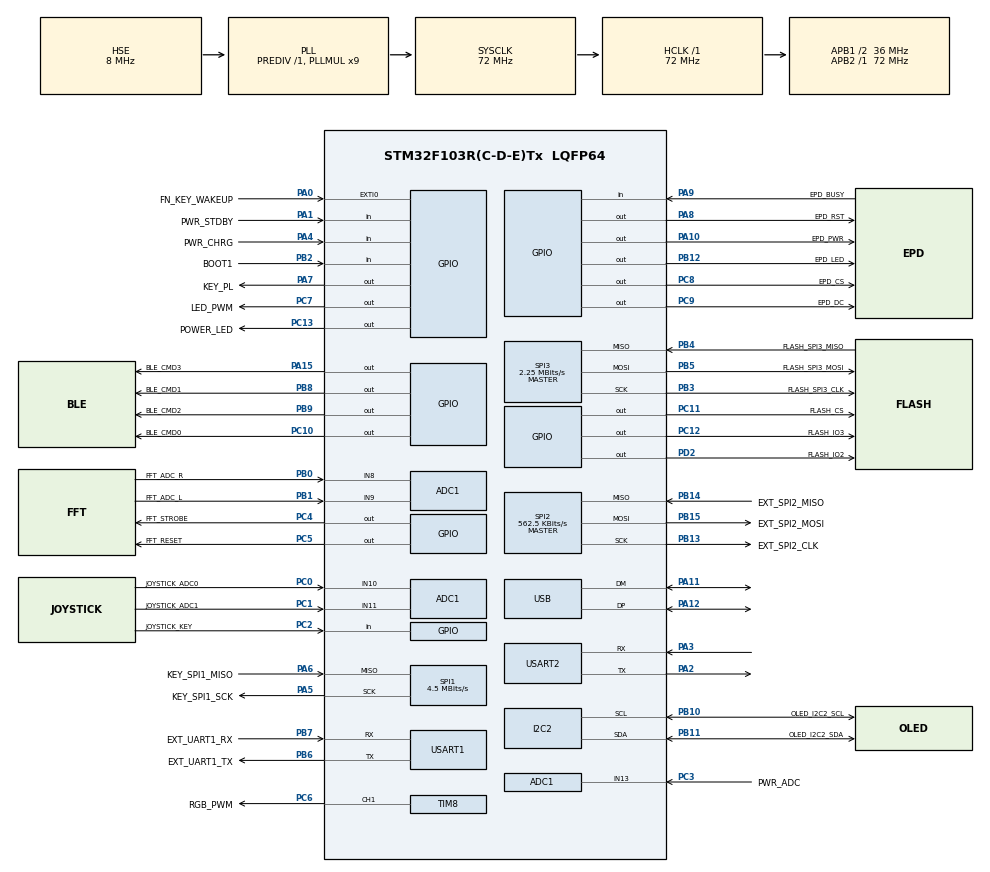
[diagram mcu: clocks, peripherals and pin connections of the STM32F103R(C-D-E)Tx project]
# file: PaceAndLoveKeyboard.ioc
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ADC1.Channel-0\#ChannelRegularConversion=ADC_CHANNEL_8
ADC1.Channel-1\#ChannelRegularConversion=ADC_CHANNEL_9
ADC1.Channel-2\#ChannelRegularConversion=ADC_CHANNEL_10
ADC1.Channel-3\#ChannelRegularConversion=ADC_CHANNEL_11
ADC1.Channel-4\#ChannelRegularConversion=ADC_CHANNEL_13
ADC1.ContinuousConvMode=ENABLE
ADC1.NbrOfConversion=5
ADC1.NbrOfConversionFlag=1
ADC1.Rank-0\#ChannelRegularConversion=1
ADC1.Rank-1\#ChannelRegularConversion=2
ADC1.Rank-2\#ChannelRegularConversion=3
ADC1.Rank-3\#ChannelRegularConversion=4
ADC1.Rank-4\#ChannelRegularConversion=5
ADC1.SamplingTime-0\#ChannelRegularConversion=ADC_SAMPLETIME_239CYCLES_5
ADC1.SamplingTime-1\#ChannelRegularConversion=ADC_SAMPLETIME_239CYCLES_5
ADC1.SamplingTime-2\#ChannelRegularConversion=ADC_SAMPLETIME_239CYCLES_5
ADC1.SamplingTime-3\#ChannelRegularConversion=ADC_SAMPLETIME_239CYCLES_5
ADC1.SamplingTime-4\#ChannelRegularConversion=ADC_SAMPLETIME_239CYCLES_5
ADC1.master=1
Dma.ADC1.1.Direction=DMA_PERIPH_TO_MEMORY
Dma.ADC1.1.Instance=DMA1_Channel1
Dma.ADC1.1.MemDataAlignment=DMA_MDATAALIGN_HALFWORD
Dma.ADC1.1.MemInc=DMA_MINC_ENABLE
Dma.ADC1.1.Mode=DMA_NORMAL
Dma.ADC1.1.PeriphDataAlignment=DMA_PDATAALIGN_HALFWORD
Dma.ADC1.1.PeriphInc=DMA_PINC_DISABLE
Dma.ADC1.1.Priority=DMA_PRIORITY_LOW
Dma.I2C2_TX.5.Direction=DMA_MEMORY_TO_PERIPH
Dma.I2C2_TX.5.Instance=DMA1_Channel4
Dma.I2C2_TX.5.MemDataAlignment=DMA_MDATAALIGN_BYTE
Dma.I2C2_TX.5.MemInc=DMA_MINC_ENABLE
Dma.I2C2_TX.5.Mode=DMA_NORMAL
Dma.I2C2_TX.5.PeriphDataAlignment=DMA_PDATAALIGN_BYTE
Dma.I2C2_TX.5.PeriphInc=DMA_PINC_DISABLE
Dma.I2C2_TX.5.Priority=DMA_PRIORITY_LOW
Dma.Request0=TIM8_CH1
Dma.Request1=ADC1
Dma.Request2=SPI3_RX
Dma.Request3=SPI3_TX
Dma.Request4=SPI2_TX
Dma.Request5=I2C2_TX
Dma.SPI2_TX.4.Direction=DMA_MEMORY_TO_PERIPH
Dma.SPI2_TX.4.Instance=DMA1_Channel5
Dma.SPI2_TX.4.MemDataAlignment=DMA_MDATAALIGN_BYTE
Dma.SPI2_TX.4.MemInc=DMA_MINC_ENABLE
Dma.SPI2_TX.4.Mode=DMA_NORMAL
Dma.SPI2_TX.4.PeriphDataAlignment=DMA_PDATAALIGN_BYTE
Dma.SPI2_TX.4.PeriphInc=DMA_PINC_DISABLE
Dma.SPI2_TX.4.Priority=DMA_PRIORITY_LOW
Dma.SPI3_RX.2.Direction=DMA_PERIPH_TO_MEMORY
Dma.SPI3_RX.2.Instance=DMA2_Channel1
Dma.SPI3_RX.2.MemDataAlignment=DMA_MDATAALIGN_BYTE
Dma.SPI3_RX.2.MemInc=DMA_MINC_ENABLE
Dma.SPI3_RX.2.Mode=DMA_NORMAL
Dma.SPI3_RX.2.PeriphDataAlignment=DMA_PDATAALIGN_BYTE
Dma.SPI3_RX.2.PeriphInc=DMA_PINC_DISABLE
Dma.SPI3_RX.2.Priority=DMA_PRIORITY_LOW
Dma.SPI3_TX.3.Direction=DMA_MEMORY_TO_PERIPH
Dma.SPI3_TX.3.Instance=DMA2_Channel2
Dma.SPI3_TX.3.MemDataAlignment=DMA_MDATAALIGN_BYTE
Dma.SPI3_TX.3.MemInc=DMA_MINC_ENABLE
Dma.SPI3_TX.3.Mode=DMA_NORMAL
Dma.SPI3_TX.3.PeriphDataAlignment=DMA_PDATAALIGN_BYTE
Dma.SPI3_TX.3.PeriphInc=DMA_PINC_DISABLE
Dma.SPI3_TX.3.Priority=DMA_PRIORITY_LOW
Dma.TIM8_CH1.0.Direction=DMA_MEMORY_TO_PERIPH
Dma.TIM8_CH1.0.Instance=DMA2_Channel3
Dma.TIM8_CH1.0.MemDataAlignment=DMA_MDATAALIGN_HALFWORD
Dma.TIM8_CH1.0.MemInc=DMA_MINC_ENABLE
Dma.TIM8_CH1.0.Mode=DMA_NORMAL
Dma.TIM8_CH1.0.PeriphDataAlignment=DMA_PDATAALIGN_HALFWORD
Dma.TIM8_CH1.0.PeriphInc=DMA_PINC_DISABLE
Dma.TIM8_CH1.0.Priority=DMA_PRIORITY_MEDIUM
I2C2.I2C_Mode=I2C_Fast
Mcu.Family=STM32F1
Mcu.Name=STM32F103R(C-D-E)Tx
Mcu.Package=LQFP64
NVIC.DMA1_Channel1_IRQn=true\:0\:0\:false\:false\:true\:false\:true\:true
NVIC.DMA1_Channel4_IRQn=true\:0\:0\:false\:false\:true\:false\:true\:true
NVIC.DMA1_Channel5_IRQn=true\:0\:0\:false\:false\:true\:false\:true\:true
NVIC.DMA2_Channel1_IRQn=true\:0\:0\:false\:false\:true\:false\:true\:true
NVIC.DMA2_Channel2_IRQn=true\:0\:0\:false\:false\:true\:false\:true\:true
NVIC.DMA2_Channel3_IRQn=true\:0\:0\:false\:false\:true\:false\:true\:true
NVIC.EXTI0_IRQn=true\:0\:0\:false\:false\:true\:true\:true\:true
NVIC.PriorityGroup=NVIC_PRIORITYGROUP_4
NVIC.TIM6_IRQn=true\:0\:0\:false\:false\:true\:true\:true\:true
NVIC.USB_LP_CAN1_RX0_IRQn=true\:0\:0\:false\:false\:true\:false\:true\:true
PA0-WKUP.GPIO_Label=FN_KEY_WAKEUP
PA0-WKUP.GPIO_ModeDefaultEXTI=GPIO_MODE_IT_RISING_FALLING
PA0-WKUP.Signal=GPXTI0
PA1.GPIO_Label=PWR_STDBY
PA1.Signal=GPIO_Input
PA10.GPIO_Label=EPD_PWR
PA10.Signal=GPIO_Output
PA11.Mode=Device
PA11.Signal=USB_DM
PA12.Mode=Device
PA12.Signal=USB_DP
PA13.Mode=Serial_Wire
PA13.Signal=SYS_JTMS-SWDIO
PA14.Mode=Serial_Wire
PA14.Signal=SYS_JTCK-SWCLK
PA15.GPIO_Label=BLE_CMD3
PA15.Signal=GPIO_Output
PA2.Mode=Asynchronous
PA2.Signal=USART2_TX
PA3.Mode=Asynchronous
PA3.Signal=USART2_RX
PA4.GPIO_Label=PWR_CHRG
PA4.Signal=GPIO_Input
PA5.GPIO_Label=KEY_SPI1_SCK
PA5.Mode=RX_Only_Simplex_Unidirect_Master
PA5.Signal=SPI1_SCK
PA6.GPIO_Label=KEY_SPI1_MISO
PA6.Mode=RX_Only_Simplex_Unidirect_Master
PA6.Signal=SPI1_MISO
PA7.GPIO_Label=KEY_PL
PA7.GPIO_PuPd=GPIO_PULLUP
PA7.PinState=GPIO_PIN_SET
PA7.Signal=GPIO_Output
PA8.GPIO_Label=EPD_RST
PA8.Signal=GPIO_Output
PA9.GPIO_Label=EPD_BUSY
PA9.Signal=GPIO_Input
PB0.GPIO_Label=FFT_ADC_R
PB0.Signal=ADCx_IN8
PB1.GPIO_Label=FFT_ADC_L
PB1.Signal=ADCx_IN9
PB10.GPIO_Label=OLED_I2C2_SCL
PB10.Mode=I2C
PB10.Signal=I2C2_SCL
PB11.GPIO_Label=OLED_I2C2_SDA
PB11.Mode=I2C
PB11.Signal=I2C2_SDA
PB12.GPIO_Label=EPD_LED
PB12.Signal=GPIO_Output
PB13.GPIO_Label=EXT_SPI2_CLK
PB13.Mode=Full_Duplex_Master
PB13.Signal=SPI2_SCK
PB14.GPIO_Label=EXT_SPI2_MISO
PB14.Mode=Full_Duplex_Master
PB14.Signal=SPI2_MISO
PB15.GPIO_Label=EXT_SPI2_MOSI
PB15.Mode=Full_Duplex_Master
PB15.Signal=SPI2_MOSI
PB2.GPIO_Label=BOOT1
PB2.Signal=GPIO_Input
PB3.GPIO_Label=FLASH_SPI3_CLK
PB3.Mode=Full_Duplex_Master
PB3.Signal=SPI3_SCK
PB4.GPIO_Label=FLASH_SPI3_MISO
PB4.Mode=Full_Duplex_Master
PB4.Signal=SPI3_MISO
PB5.GPIO_Label=FLASH_SPI3_MOSI
PB5.Mode=Full_Duplex_Master
PB5.Signal=SPI3_MOSI
PB6.GPIO_Label=EXT_UART1_TX
PB6.Mode=Asynchronous
PB6.Signal=USART1_TX
PB7.GPIO_Label=EXT_UART1_RX
PB7.Mode=Asynchronous
PB7.Signal=USART1_RX
PB8.GPIO_Label=BLE_CMD1
PB8.Signal=GPIO_Output
PB9.GPIO_Label=BLE_CMD2
PB9.Signal=GPIO_Output
PC0.GPIO_Label=JOYSTICK_ADC0
PC0.Signal=ADCx_IN10
PC1.GPIO_Label=JOYSTICK_ADC1
PC1.Signal=ADCx_IN11
PC10.GPIO_Label=BLE_CMD0
PC10.Signal=GPIO_Output
PC11.GPIO_Label=FLASH_CS
PC11.GPIO_PuPd=GPIO_PULLUP
PC11.Signal=GPIO_Output
PC12.GPIO_Label=FLASH_IO3
PC12.GPIO_PuPd=GPIO_PULLUP
PC12.Signal=GPIO_Output
PC13-TAMPER-RTC.GPIO_Label=POWER_LED
PC13-TAMPER-RTC.Signal=GPIO_Output
PC14-OSC32_IN.Mode=LSE-External-Oscillator
PC14-OSC32_IN.Signal=RCC_OSC32_IN
PC15-OSC32_OUT.Mode=LSE-External-Oscillator
PC15-OSC32_OUT.Signal=RCC_OSC32_OUT
PC2.GPIO_Label=JOYSTICK_KEY
PC2.Signal=GPIO_Input
PC3.GPIO_Label=PWR_ADC
PC3.Signal=ADCx_IN13
PC4.GPIO_Label=FFT_STROBE
PC4.Signal=GPIO_Output
PC5.GPIO_Label=FFT_RESET
PC5.Signal=GPIO_Output
PC6.GPIO_Label=RGB_PWM
PC6.Signal=S_TIM8_CH1
PC7.GPIO_Label=LED_PWM
PC7.Signal=GPIO_Output
PC8.GPIO_Label=EPD_CS
PC8.Signal=GPIO_Output
PC9.GPIO_Label=EPD_DC
PC9.Signal=GPIO_Output
PD0-OSC_IN.Mode=HSE-External-Oscillator
PD0-OSC_IN.Signal=RCC_OSC_IN
PD1-OSC_OUT.Mode=HSE-External-Oscillator
PD1-OSC_OUT.Signal=RCC_OSC_OUT
PD2.GPIO_Label=FLASH_IO2
PD2.GPIO_PuPd=GPIO_PULLUP
PD2.Signal=GPIO_Output
ProjectManager.HeapSize=0x200
ProjectManager.StackSize=0x400
ProjectManager.TargetToolchain=MDK-ARM V5.32
RCC.ADCPresc=RCC_ADCPCLK2_DIV6
RCC.AHBFreq_Value=72000000
RCC.APB1CLKDivider=RCC_HCLK_DIV2
RCC.APB1Freq_Value=36000000
RCC.APB1TimFreq_Value=72000000
RCC.APB2Freq_Value=72000000
RCC.APB2TimFreq_Value=72000000
RCC.HCLKFreq_Value=72000000
RCC.PLLMUL=RCC_PLL_MUL9
RCC.PLLSourceVirtual=RCC_PLLSOURCE_HSE
RCC.SYSCLKFreq_VALUE=72000000
RCC.SYSCLKSource=RCC_SYSCLKSOURCE_PLLCLK
RCC.USBFreq_Value=48000000
RCC.USBPrescaler=RCC_USBCLKSOURCE_PLL_DIV1_5
SH.ADCx_IN10.0=ADC1_IN10,IN10
SH.ADCx_IN11.0=ADC1_IN11,IN11
SH.ADCx_IN13.0=ADC1_IN13,IN13
SH.ADCx_IN8.0=ADC1_IN8,IN8
SH.ADCx_IN9.0=ADC1_IN9,IN9
SH.S_TIM8_CH1.0=TIM8_CH1,PWM Generation1 CH1
SPI1.BaudRatePrescaler=SPI_BAUDRATEPRESCALER_16
SPI1.CLKPolarity=SPI_POLARITY_HIGH
SPI1.CalculateBaudRate=4.5 MBits/s
SPI1.Direction=SPI_DIRECTION_2LINES_RXONLY
SPI1.Mode=SPI_MODE_MASTER
SPI1.VirtualType=VM_MASTER
SPI2.BaudRatePrescaler=SPI_BAUDRATEPRESCALER_64
SPI2.CLKPhase=SPI_PHASE_1EDGE
SPI2.CLKPolarity=SPI_POLARITY_LOW
SPI2.CalculateBaudRate=562.5 KBits/s
SPI2.Direction=SPI_DIRECTION_2LINES
SPI2.Mode=SPI_MODE_MASTER
SPI2.VirtualType=VM_MASTER
SPI3.BaudRatePrescaler=SPI_BAUDRATEPRESCALER_16
SPI3.CalculateBaudRate=2.25 MBits/s
SPI3.Direction=SPI_DIRECTION_2LINES
SPI3.Mode=SPI_MODE_MASTER
SPI3.VirtualType=VM_MASTER
TIM6.AutoReloadPreload=TIM_AUTORELOAD_PRELOAD_ENABLE
TIM6.Period=10
TIM6.Prescaler=36000
TIM8.Channel-PWM\ Generation1\ CH1=TIM_CHANNEL_1
TIM8.Period=89
USART1.VirtualMode=VM_ASYNC
USART2.VirtualMode=VM_ASYNC
USB_DEVICE.CLASS_NAME_FS=MSC
USB_DEVICE.MANUFACTURER_STRING=Marspacecraft
USB_DEVICE.PRODUCT_STRING_MSC_FS=Pace and Love
USB_DEVICE.VirtualMode=Msc
USB_DEVICE.VirtualModeFS=Msc_FS
VP_TIM6_VS_ClockSourceINT.Mode=Enable_Timer
VP_USB_DEVICE_VS_USB_DEVICE_MSC_FS.Mode=MSC_FS
board=custom

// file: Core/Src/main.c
/* USER CODE BEGIN Header */
/**
  ******************************************************************************
  * @file           : main.c
  * @brief          : Main program body
  ******************************************************************************
  * @attention
  *
  * Copyright (c) 2023 STMicroelectronics.
  * All rights reserved.
  *
  * This software is licensed under terms that can be found in the LICENSE file
  * in the root directory of this software component.
  * If no LICENSE file comes with this software, it is provided AS-IS.
  *
  ******************************************************************************
  */
/* USER CODE END Header */
#include "main.h"
#include "adc.h"
#include "dma.h"
#include "i2c.h"
#include "spi.h"
#include "tim.h"
#include "usart.h"
#include "usb_device.h"
#include "gpio.h"

/* USER CODE BEGIN Includes */
#include "keyconfig.h"
#include "tracelog.h"
#include "usbd_agent.h"
#include "scheduler.h"
#include "keyboard.h"
#include "memery.h"
#include "flash.h"
#include "fatfs.h"
#include "EPD_2in7_V2.h"
#include "timertask.h"
#include "timeradc.h"
#include "joystick.h"
#include "fonts.h"
#include "st7302.h"
#include "rgb.h"
#include "ws2812b.h"
#include "oled.h"
/* USER CODE END Includes */

void SystemClock_Config(void);

/* USER CODE BEGIN 0 */

void KB_Delay_us(uint32_t us)
{
	uint32_t i = us * 18;//nop,i--,judge,jump 72/4=18

	for(;i>0;i--)
	{
		__NOP();
	}
}

bool KB_ATOMIC_CAS(volatile uint8_t *pdst,uint8_t osrc,uint8_t nsrc)
{
	bool ret = false;

	__disable_irq();

	if(*pdst == osrc)
	{
		*pdst = nsrc;
		ret = true;
	}
	__DMB();
	__enable_irq();
	return ret;
}

bool KB_ATOMIC_CAS_ADDR(volatile void **pdst,void * osrc,void * nsrc)
{
	bool ret = false;

	__disable_irq();

	if(*pdst == osrc)
	{
		*pdst = nsrc;
		ret = true;
	}
	__DMB();
	__enable_irq();
	return ret;
}

void usb_dc_low_level_init(void)
{
    /* Peripheral clock enable */
    __HAL_RCC_USB_CLK_ENABLE();
    /* USB interrupt Init */
    HAL_NVIC_SetPriority(USB_LP_CAN1_RX0_IRQn, 0, 0);
    HAL_NVIC_EnableIRQ(USB_LP_CAN1_RX0_IRQn);

}

void testcase_led_toggle(uint8_t* data)
{
	HAL_GPIO_TogglePin(POWER_LED_GPIO_Port,POWER_LED_Pin);
}

void Throw_PowerLedTask()
{
	Start_CycleTimer(TIMER_PERIOD_500MS,testcase_led_toggle,NULL);
}

void USB_Init()
{
#ifndef TEST_USB_MSC
	if(MEM_FlagBit_IsEnabled(MEM_FLAG_USBMSC))
	{
		usbd_start_msc_mode();
		MEM_FlagBit_Reset(MEM_FLAG_USBMSC);
		MEM_FlagBit_Set(MEM_FLAG_BOOTLOADER);//enable bootloader to update firmware
	}
	else
	{
		usbd_start_hid_vcp_mode();
	}
#endif

}

void Main()
{
	RGB_CloseAll();
	RGB_Stop();
	CycleTimer_Init();
	Flash_Init();
	Fonts_Init();

	USB_Init();

	#ifdef SPI_EPAPER
		EPD_StartShow();
	#endif

	#ifdef I2C_OLED
		OLED_Init();
	#ifdef TEST_OLED
		testcase_oled();
	#endif
	#endif

	KEY_Init();
	Joystick_Init();

	#ifdef SPI_SHOW_LCD
	LCD_Init();
	#endif

	#ifdef USE_TESTCASE
		Throw_PowerLedTask();
	#endif

	#ifdef TEST_USB
		HAL_Delay(10000);
		testcase_usb();
	#endif

	#ifdef TEST_74HC165
		extern void testcase_74hc165(void);
 		testcase_74hc165();
	#endif

	#ifdef TEST_SCHEDULER
		testcase_scheduler();
	#endif

	#ifdef TEST_KEYTASKSCHEDULER
		testcase_keytaskscheduler();
	#endif

	#ifdef TEST_RGB
		void testcase_rgb(void);
		testcase_rgb();
	#endif

	#ifdef TEST_INTFLASH
		testcase_intflash();
	#endif

	#ifdef TEST_NORFLASH
		testcase_norflash();
	#endif

	#ifdef TEST_FATFS
		extern void testcase_fatfs(void);
		testcase_fatfs();
	#endif

	#ifdef TEST_USB_MSC
		testcase_usbmsc();
	#endif

	#ifdef TEST_EPAPER
		extern void testcase_ePaper(void);
		testcase_ePaper();
	#endif

	#ifdef TEST_TIMERTASK
 		testcase_timertask();
	#endif

	#ifdef TEST_ADC
		testcase_adc();
	#endif

	#ifdef TEST_JOYSTICK
		testcase_joystick();
	#else
		//ADC_Start();
		//Joystick_Start();
	#endif

	#ifdef TEST_FNKEY
		testcase_Fnkey();
	#endif

	#ifdef TEST_LCD
		extern void testcase_lcd(void);
		testcase_lcd();
	#endif

	#ifdef TEST_FONT
		extern void testcase_font(void);
 		testcase_font();
	#endif

	#ifdef TEST_REGMODE
		extern void testcase_testrgbmode(void);
		testcase_testrgbmode();
	#endif

	#ifdef TEST_GT20
		extern void testcase_gt20(void);
		testcase_gt20();
	#endif

	ADC_Start();
	Joystick_Start();
	RGB_Start(RGB_Init_KeyCross);

	extern void ginisobeautiful();
	ginisobeautiful();

	HAL_Delay(1000);

	KEY_Scan_Start();

	while (1)
  	{
		do_schedule();

  	}
}

void sys_nvic_set_vector_table()
{
    SCB->VTOR = FLASH_BASE | (APP_OFFSET & (uint32_t)0xFFFFFE00);
}

/* USER CODE END 0 */

int main(void)
{
  /* USER CODE BEGIN 1 */
	//#ifndef USE_TESTCASE
		sys_nvic_set_vector_table();
	//#endif
	IntFlash_Init();
	init_scheduler();
  /* USER CODE END 1 */

  /* MCU Configuration--------------------------------------------------------*/

  /* Reset of all peripherals, Initializes the Flash interface and the Systick. */
  HAL_Init();

  /* Configure the system clock */
  SystemClock_Config();

  /* Initialize all configured peripherals */
  MX_GPIO_Init();
  MX_DMA_Init();
  MX_USART1_UART_Init();
  MX_SPI1_Init();
  MX_TIM6_Init();
  MX_SPI2_Init();
  MX_SPI3_Init();
  MX_USART2_UART_Init();
  MX_I2C2_Init();
  MX_TIM8_Init();
  MX_ADC1_Init();
  MX_USB_DEVICE_Init();
  /* USER CODE BEGIN 2 */
	TRACELOG_INFO("KeyBoard start!");
  TRACELOG_INFO(PALK_VERSION);
	Main();
  /* USER CODE END 2 */

  /* Infinite loop */
  while (1)
  {

  }
}

void SystemClock_Config(void)
{
  RCC_OscInitTypeDef RCC_OscInitStruct = {0};
  RCC_ClkInitTypeDef RCC_ClkInitStruct = {0};
  RCC_PeriphCLKInitTypeDef PeriphClkInit = {0};

  /** Initializes the RCC Oscillators according to the specified parameters
  * in the RCC_OscInitTypeDef structure.
  */
  RCC_OscInitStruct.OscillatorType = RCC_OSCILLATORTYPE_HSE;
  RCC_OscInitStruct.HSEState = RCC_HSE_ON;
  RCC_OscInitStruct.HSEPredivValue = RCC_HSE_PREDIV_DIV1;
  RCC_OscInitStruct.HSIState = RCC_HSI_ON;
  RCC_OscInitStruct.PLL.PLLState = RCC_PLL_ON;
  RCC_OscInitStruct.PLL.PLLSource = RCC_PLLSOURCE_HSE;
  RCC_OscInitStruct.PLL.PLLMUL = RCC_PLL_MUL9;
  if (HAL_RCC_OscConfig(&RCC_OscInitStruct) != HAL_OK)
  {
    Error_Handler();
  }

  /** Initializes the CPU, AHB and APB buses clocks
  */
  RCC_ClkInitStruct.ClockType = RCC_CLOCKTYPE_HCLK|RCC_CLOCKTYPE_SYSCLK
                              |RCC_CLOCKTYPE_PCLK1|RCC_CLOCKTYPE_PCLK2;
  RCC_ClkInitStruct.SYSCLKSource = RCC_SYSCLKSOURCE_PLLCLK;
  RCC_ClkInitStruct.AHBCLKDivider = RCC_SYSCLK_DIV1;
  RCC_ClkInitStruct.APB1CLKDivider = RCC_HCLK_DIV2;
  RCC_ClkInitStruct.APB2CLKDivider = RCC_HCLK_DIV1;

  if (HAL_RCC_ClockConfig(&RCC_ClkInitStruct, FLASH_LATENCY_2) != HAL_OK)
  {
    Error_Handler();
  }
  PeriphClkInit.PeriphClockSelection = RCC_PERIPHCLK_ADC|RCC_PERIPHCLK_USB;
  PeriphClkInit.AdcClockSelection = RCC_ADCPCLK2_DIV6;
  PeriphClkInit.UsbClockSelection = RCC_USBCLKSOURCE_PLL_DIV1_5;
  if (HAL_RCCEx_PeriphCLKConfig(&PeriphClkInit) != HAL_OK)
  {
    Error_Handler();
  }
}

void Error_Handler(void)
{
  /* USER CODE BEGIN Error_Handler_Debug */
  /* User can add his own implementation to report the HAL error return state */
  TRACELOG_ERROR(unknow_error_Handler);
  __disable_irq();
  while (1)
  {
  }
  /* USER CODE END Error_Handler_Debug */
}
